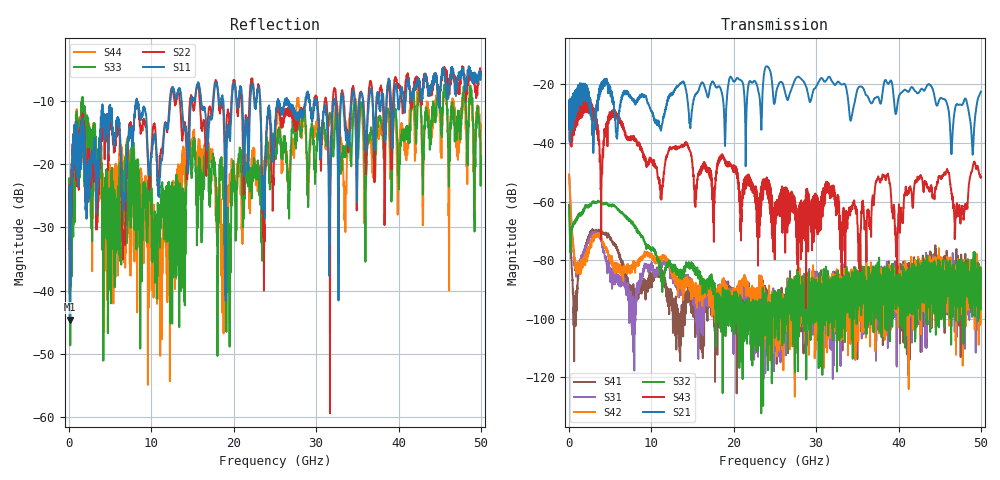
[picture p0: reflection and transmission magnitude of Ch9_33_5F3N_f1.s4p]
!Agilent Technologies,N5247A,US51170199,A.09.90.13
!Agilent N5247A: A.09.90.13
!Date: Wednesday, December 16, 2015 12:02:52
!Correction: S11(Full 4 Port(1,2,3,4))
!S12(Full 4 Port(1,2,3,4))
!S13(Full 4 Port(1,2,3,4))
!S14(Full 4 Port(1,2,3,4))
!S21(Full 4 Port(1,2,3,4))
!S22(Full 4 Port(1,2,3,4))
!S23(Full 4 Port(1,2,3,4))
!S24(Full 4 Port(1,2,3,4))
!S31(Full 4 Port(1,2,3,4))
!S32(Full 4 Port(1,2,3,4))
!S33(Full 4 Port(1,2,3,4))
!S34(Full 4 Port(1,2,3,4))
!S41(Full 4 Port(1,2,3,4))
!S42(Full 4 Port(1,2,3,4))
!S43(Full 4 Port(1,2,3,4))
!S44(Full 4 Port(1,2,3,4))
!S4P File: Measurements: <S11,S12,S13,S14>,
!<S21,S22,S23,S24>,
!<S31,S32,S33,S34>,
!<S41,S42,S43,S44>:
# Hz S  dB  R 50
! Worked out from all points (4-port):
!   3201 points, 10 MHz to 50 GHz, reference 50 ohm
!   strongest paths, dB at 10 MHz, 12.51 GHz, 25 GHz, 37.5 GHz, 50 GHz:
!     S21: -34.4, -23.5, -26.0, -24.2, -22.5
!     S43: -35.3, -41.9, -61.3, -52.0, -51.7
!     S32: -61.4, -82.6, -104.2, -90.7, -96.7
!     S42: -50.7, -83.8, -101.6, -86.7, -84.1
!     S31: -50.9, -85.9, -99.4, -90.2, -87.9
!     S41: -61.1, -93.7, -95.0, -99.5, -88.8
!   lowest |S11| = -44.6 dB at 88.11 MHz (marker M1), VSWR 1.01, Z = 50.4 + j0.476 ohm
!   |S11| at or under -10 dB: start of sweep to 8.126 GHz; 8.252 GHz to 12.29 GHz (4.036 GHz wide, 39.3 % of centre); 23.2 GHz to 25.35 GHz (2.148 GHz wide, 8.85 % of centre)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
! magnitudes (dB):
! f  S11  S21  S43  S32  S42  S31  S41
! 10 MHz  -23.7  -34.4  -35.3  -61.4  -50.7  -50.9  -61.1
! 88.11 MHz  -44.6  -39.6  -39.1  -70.6  -54.9  -54.8  -66.5
! 900.4 MHz  -15.9  -25.0  -32.5  -65.9  -83.3  -81.7  -96.6
! 11.15 GHz  -19.8  -35.8  -57.5  -84.7  -79.5  -82.6  -84.5
! 18.76 GHz  -10.5  -26.8  -44.7  -94.5  -87.4  -89.3  -94.7
! 35.22 GHz  -10.8  -20.8  -74.9  -88.8  -92.1  -89.9  -94.1
! 50 GHz  -5.7  -22.5  -51.7  -96.7  -84.1  -87.9  -88.8
